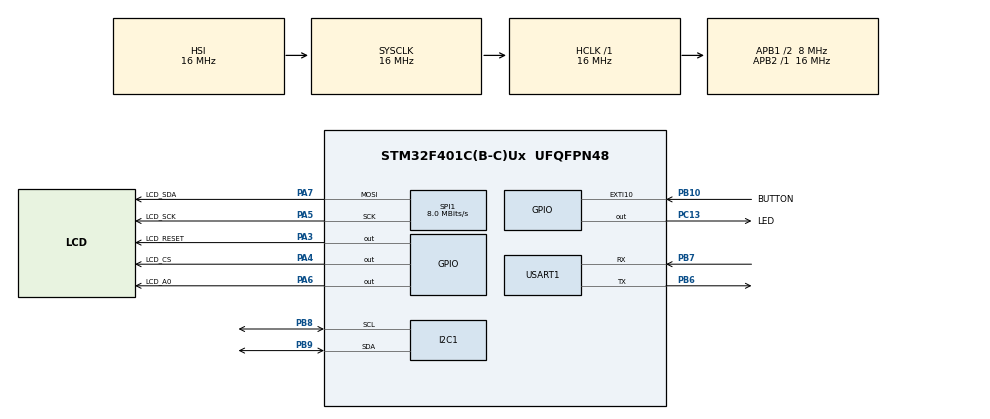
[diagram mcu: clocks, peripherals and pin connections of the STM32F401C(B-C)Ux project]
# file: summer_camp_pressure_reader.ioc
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FREERTOS.BinarySemaphores01=semButtonPressed,Static,semButtonPressedControlBlock
FREERTOS.Mutexes01=muxUART,Dynamic,NULL
FREERTOS.Queues01=queueHandler,32,uint32_t,0,Dynamic,NULL,NULL
FREERTOS.Tasks01=defaultTask,8,128,StartDefaultTask,Default,NULL,Dynamic,NULL,NULL;taskPressureOut,24,128,StartTaskPressureOutput,Default,NULL,Dynamic,NULL,NULL;taskPressureRea,8,128,StartTaskPressureRead,Default,NULL,Dynamic,NULL,NULL
FREERTOS.configTICK_RATE_HZ=500
FREERTOS.configUSE_NEWLIB_REENTRANT=1
Mcu.Family=STM32F4
Mcu.Name=STM32F401C(B-C)Ux
Mcu.Package=UFQFPN48
NVIC.PriorityGroup=NVIC_PRIORITYGROUP_4
NVIC.SPI1_IRQn=true\:5\:0\:false\:false\:true\:true\:true\:true\:true
PA3.GPIO_Label=LCD_RESET
PA3.PinState=GPIO_PIN_SET
PA3.Signal=GPIO_Output
PA4.GPIO_Label=LCD_CS
PA4.PinState=GPIO_PIN_SET
PA4.Signal=GPIO_Output
PA5.GPIO_Label=LCD_SCK
PA5.Mode=TX_Only_Simplex_Unidirect_Master
PA5.Signal=SPI1_SCK
PA6.GPIO_Label=LCD_A0
PA6.PinState=GPIO_PIN_SET
PA6.Signal=GPIO_Output
PA7.GPIO_Label=LCD_SDA
PA7.Mode=TX_Only_Simplex_Unidirect_Master
PA7.Signal=SPI1_MOSI
PB10.GPIO_Label=BUTTON
PB10.GPIO_ModeDefaultEXTI=GPIO_MODE_IT_RISING
PB10.Signal=GPXTI10
PB6.Mode=Asynchronous
PB6.Signal=USART1_TX
PB7.Mode=Asynchronous
PB7.Signal=USART1_RX
PB8.GPIO_Pu=GPIO_PULLUP
PB8.Mode=I2C
PB8.Signal=I2C1_SCL
PB9.GPIO_Pu=GPIO_PULLUP
PB9.Mode=I2C
PB9.Signal=I2C1_SDA
PC13-ANTI_TAMP.GPIO_Label=LED
PC13-ANTI_TAMP.Signal=GPIO_Output
ProjectManager.HeapSize=0x200
ProjectManager.StackSize=0x400
ProjectManager.TargetToolchain=STM32CubeIDE
RCC.48MHZClocksFreq_Value=84000000
RCC.AHBFreq_Value=16000000
RCC.APB1CLKDivider=RCC_HCLK_DIV2
RCC.APB1Freq_Value=8000000
RCC.APB1TimFreq_Value=16000000
RCC.APB2Freq_Value=16000000
RCC.APB2TimFreq_Value=16000000
RCC.CortexFreq_Value=16000000
RCC.HCLKFreq_Value=16000000
RCC.HSE_VALUE=25000000
RCC.HSI_VALUE=16000000
RCC.LSE_VALUE=32768
RCC.PLLM=8
RCC.PLLN=168
RCC.SYSCLKFreq_VALUE=16000000
RCC.VCOOutputFreq_Value=336000000
SPI1.CalculateBaudRate=8.0 MBits/s
SPI1.DataSize=SPI_DATASIZE_8BIT
SPI1.Direction=SPI_DIRECTION_2LINES
SPI1.Mode=SPI_MODE_MASTER
SPI1.VirtualType=VM_MASTER
USART1.VirtualMode=VM_ASYNC
VP_FREERTOS_VS_CMSIS_V2.Mode=CMSIS_V2
board=custom

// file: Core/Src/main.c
/* USER CODE BEGIN Header */
/**
 ******************************************************************************
 * @file           : main.c
 * @brief          : Main program body
 ******************************************************************************
 * @attention
 *
 * Copyright (c) 2022 STMicroelectronics.
 * All rights reserved.
 *
 * This software is licensed under terms that can be found in the LICENSE file
 * in the root directory of this software component.
 * If no LICENSE file comes with this software, it is provided AS-IS.
 *
 ******************************************************************************
 */
/* USER CODE END Header */
#include "main.h"
#include "cmsis_os.h"

/* USER CODE BEGIN Includes */
#include <stdio.h>
#include <string.h>
#include "baro.h"

/* USER CODE END Includes */

typedef StaticSemaphore_t osStaticSemaphoreDef_t;

/* USER CODE BEGIN PD */
#define countof(_a) (sizeof(_a)/sizeof(_a[0]))

#define MAX(a, b) (a > b) ? a : b

/* USER CODE END PD */

I2C_HandleTypeDef hi2c1;

SPI_HandleTypeDef hspi1;

UART_HandleTypeDef huart1;

/* Definitions for defaultTask */
osThreadId_t defaultTaskHandle;
const osThreadAttr_t defaultTask_attributes = { .name = "defaultTask",
		.stack_size = 128 * 4, .priority = (osPriority_t) osPriorityLow, };
/* Definitions for taskPressureOut */
osThreadId_t taskPressureOutHandle;
const osThreadAttr_t taskPressureOut_attributes = { .name = "taskPressureOut",
		.stack_size = 128 * 4, .priority = (osPriority_t) osPriorityNormal, };
/* Definitions for taskPressureRea */
osThreadId_t taskPressureReaHandle;
const osThreadAttr_t taskPressureRea_attributes = { .name = "taskPressureRea",
		.stack_size = 128 * 4, .priority = (osPriority_t) osPriorityLow, };
/* Definitions for queueHandler */
osMessageQueueId_t queueHandlerHandle;
const osMessageQueueAttr_t queueHandler_attributes = { .name = "queueHandler" };
/* Definitions for muxUART */
osMutexId_t muxUARTHandle;
const osMutexAttr_t muxUART_attributes = { .name = "muxUART" };
/* Definitions for semButtonPressed */
osSemaphoreId_t semButtonPressedHandle;
osStaticSemaphoreDef_t semButtonPressedControlBlock;
const osSemaphoreAttr_t semButtonPressed_attributes = { .name =
		"semButtonPressed", .cb_mem = &semButtonPressedControlBlock, .cb_size =
		sizeof(semButtonPressedControlBlock), };

void SystemClock_Config(void);
static void MX_GPIO_Init(void);
static void MX_I2C1_Init(void);
static void MX_USART1_UART_Init(void);
static void MX_SPI1_Init(void);
void StartDefaultTask(void *argument);
void StartTaskPressureOutput(void *argument);
void StartTaskPressureRead(void *argument);

/* USER CODE BEGIN 0 */
char text[100];
/* USER CODE END 0 */

int main(void) {

	/* MCU Configuration--------------------------------------------------------*/

	/* Reset of all peripherals, Initializes the Flash interface and the Systick. */
	HAL_Init();

	/* Configure the system clock */
	SystemClock_Config();

	/* Initialize all configured peripherals */
	MX_GPIO_Init();
	MX_I2C1_Init();
	MX_USART1_UART_Init();
	MX_SPI1_Init();
	/* USER CODE BEGIN 2 */

	if (baro_init() != BARO_OK) {
		snprintf(text, strlen(text), "Error init baro\n");
		HAL_UART_Transmit(&huart1, (uint8_t*) text,
				strnlen(text, countof(text)), 1000);
		while (1) {
		}
	}

	/* USER CODE END 2 */

	/* Init scheduler */
	osKernelInitialize();
	/* Create the mutex(es) */
	/* creation of muxUART */
	muxUARTHandle = osMutexNew(&muxUART_attributes);

	/* Create the semaphores(s) */
	/* creation of semButtonPressed */
	semButtonPressedHandle = osSemaphoreNew(1, 1, &semButtonPressed_attributes);

	/* Create the queue(s) */
	/* creation of queueHandler */
	queueHandlerHandle = osMessageQueueNew(32, sizeof(uint32_t),
			&queueHandler_attributes);

	/* USER CODE BEGIN RTOS_QUEUES */
	if (queueHandlerHandle == NULL) {
		char *str = "Unable to create Integer Queue\n\n";
		HAL_UART_Transmit(&huart1, (uint8_t*) str, strlen(str), HAL_MAX_DELAY);
	} else {
		char *str = "Integer Queue Created Successfully\n\n";
		HAL_UART_Transmit(&huart1, (uint8_t*) str, strlen(str), HAL_MAX_DELAY);
	}

	/* add queues, ... */
	/* USER CODE END RTOS_QUEUES */

	/* Create the thread(s) */
	/* creation of defaultTask */
	defaultTaskHandle = osThreadNew(StartDefaultTask, NULL,
			&defaultTask_attributes);

	/* creation of taskPressureOut */
	taskPressureOutHandle = osThreadNew(StartTaskPressureOutput, NULL,
			&taskPressureOut_attributes);

	/* creation of taskPressureRea */
	taskPressureReaHandle = osThreadNew(StartTaskPressureRead, NULL,
			&taskPressureRea_attributes);

	/* Start scheduler */
	osKernelStart();

	/* We should never get here as control is now taken by the scheduler */
	/* Infinite loop */
	while (1) {

	}
}

void SystemClock_Config(void) {
	RCC_OscInitTypeDef RCC_OscInitStruct = { 0 };
	RCC_ClkInitTypeDef RCC_ClkInitStruct = { 0 };

	/** Configure the main internal regulator output voltage
	 */
	__HAL_RCC_PWR_CLK_ENABLE();
	__HAL_PWR_VOLTAGESCALING_CONFIG(PWR_REGULATOR_VOLTAGE_SCALE2);

	/** Initializes the RCC Oscillators according to the specified parameters
	 * in the RCC_OscInitTypeDef structure.
	 */
	RCC_OscInitStruct.OscillatorType = RCC_OSCILLATORTYPE_HSI;
	RCC_OscInitStruct.HSIState = RCC_HSI_ON;
	RCC_OscInitStruct.HSICalibrationValue = RCC_HSICALIBRATION_DEFAULT;
	RCC_OscInitStruct.PLL.PLLState = RCC_PLL_NONE;
	if (HAL_RCC_OscConfig(&RCC_OscInitStruct) != HAL_OK) {
		Error_Handler();
	}

	/** Initializes the CPU, AHB and APB buses clocks
	 */
	RCC_ClkInitStruct.ClockType = RCC_CLOCKTYPE_HCLK | RCC_CLOCKTYPE_SYSCLK
			| RCC_CLOCKTYPE_PCLK1 | RCC_CLOCKTYPE_PCLK2;
	RCC_ClkInitStruct.SYSCLKSource = RCC_SYSCLKSOURCE_HSI;
	RCC_ClkInitStruct.AHBCLKDivider = RCC_SYSCLK_DIV1;
	RCC_ClkInitStruct.APB1CLKDivider = RCC_HCLK_DIV2;
	RCC_ClkInitStruct.APB2CLKDivider = RCC_HCLK_DIV1;

	if (HAL_RCC_ClockConfig(&RCC_ClkInitStruct, FLASH_LATENCY_0) != HAL_OK) {
		Error_Handler();
	}
}

static void MX_I2C1_Init(void) {

	hi2c1.Instance = I2C1;
	hi2c1.Init.ClockSpeed = 100000;
	hi2c1.Init.DutyCycle = I2C_DUTYCYCLE_2;
	hi2c1.Init.OwnAddress1 = 0;
	hi2c1.Init.AddressingMode = I2C_ADDRESSINGMODE_7BIT;
	hi2c1.Init.DualAddressMode = I2C_DUALADDRESS_DISABLE;
	hi2c1.Init.OwnAddress2 = 0;
	hi2c1.Init.GeneralCallMode = I2C_GENERALCALL_DISABLE;
	hi2c1.Init.NoStretchMode = I2C_NOSTRETCH_DISABLE;
	if (HAL_I2C_Init(&hi2c1) != HAL_OK) {
		Error_Handler();
	}

}

static void MX_SPI1_Init(void) {

	/* SPI1 parameter configuration*/
	hspi1.Instance = SPI1;
	hspi1.Init.Mode = SPI_MODE_MASTER;
	hspi1.Init.Direction = SPI_DIRECTION_2LINES;
	hspi1.Init.DataSize = SPI_DATASIZE_8BIT;
	hspi1.Init.CLKPolarity = SPI_POLARITY_LOW;
	hspi1.Init.CLKPhase = SPI_PHASE_1EDGE;
	hspi1.Init.NSS = SPI_NSS_SOFT;
	hspi1.Init.BaudRatePrescaler = SPI_BAUDRATEPRESCALER_2;
	hspi1.Init.FirstBit = SPI_FIRSTBIT_MSB;
	hspi1.Init.TIMode = SPI_TIMODE_DISABLE;
	hspi1.Init.CRCCalculation = SPI_CRCCALCULATION_DISABLE;
	hspi1.Init.CRCPolynomial = 10;
	if (HAL_SPI_Init(&hspi1) != HAL_OK) {
		Error_Handler();
	}

}

static void MX_USART1_UART_Init(void) {

	huart1.Instance = USART1;
	huart1.Init.BaudRate = 115200;
	huart1.Init.WordLength = UART_WORDLENGTH_8B;
	huart1.Init.StopBits = UART_STOPBITS_1;
	huart1.Init.Parity = UART_PARITY_NONE;
	huart1.Init.Mode = UART_MODE_TX_RX;
	huart1.Init.HwFlowCtl = UART_HWCONTROL_NONE;
	huart1.Init.OverSampling = UART_OVERSAMPLING_16;
	if (HAL_UART_Init(&huart1) != HAL_OK) {
		Error_Handler();
	}

}

static void MX_GPIO_Init(void) {
	GPIO_InitTypeDef GPIO_InitStruct = { 0 };

	/* GPIO Ports Clock Enable */
	__HAL_RCC_GPIOC_CLK_ENABLE();
	__HAL_RCC_GPIOA_CLK_ENABLE();
	__HAL_RCC_GPIOB_CLK_ENABLE();

	/*Configure GPIO pin Output Level */
	HAL_GPIO_WritePin(LED_GPIO_Port, LED_Pin, GPIO_PIN_RESET);

	/*Configure GPIO pin Output Level */
	HAL_GPIO_WritePin(GPIOA, LCD_RESET_Pin | LCD_CS_Pin | LCD_A0_Pin,
			GPIO_PIN_SET);

	/*Configure GPIO pin : LED_Pin */
	GPIO_InitStruct.Pin = LED_Pin;
	GPIO_InitStruct.Mode = GPIO_MODE_OUTPUT_PP;
	GPIO_InitStruct.Pull = GPIO_NOPULL;
	GPIO_InitStruct.Speed = GPIO_SPEED_FREQ_LOW;
	HAL_GPIO_Init(LED_GPIO_Port, &GPIO_InitStruct);

	/*Configure GPIO pins : LCD_RESET_Pin LCD_CS_Pin LCD_A0_Pin */
	GPIO_InitStruct.Pin = LCD_RESET_Pin | LCD_CS_Pin | LCD_A0_Pin;
	GPIO_InitStruct.Mode = GPIO_MODE_OUTPUT_PP;
	GPIO_InitStruct.Pull = GPIO_NOPULL;
	GPIO_InitStruct.Speed = GPIO_SPEED_FREQ_LOW;
	HAL_GPIO_Init(GPIOA, &GPIO_InitStruct);

	/*Configure GPIO pin : BUTTON_Pin */
	GPIO_InitStruct.Pin = BUTTON_Pin;
	GPIO_InitStruct.Mode = GPIO_MODE_IT_RISING;
	GPIO_InitStruct.Pull = GPIO_NOPULL;
	HAL_GPIO_Init(BUTTON_GPIO_Port, &GPIO_InitStruct);

}

/* USER CODE BEGIN 4 */

void HAL_GPIO_EXTI_Callback(uint16_t GPIO_Pin) {
}

/* USER CODE END 4 */

void StartDefaultTask(void *argument) {
	for (;;) {
		osDelay(1);
	}
}

void StartTaskPressureOutput(void *argument) {
	/* USER CODE BEGIN StartTaskPressureOutput */
	/* Infinite loop */
	for (;;) {
		osStatus_t status;
		int32_t pressure;

		// Read the value of the pressure from the queue
		status = osMessageQueueGet(queueHandlerHandle, &pressure, NULL, 100);

		// Write a formatted data to the string text
		snprintf(text, countof(text), "Pressure: %ld.%02ld\n", pressure / 100,
				pressure % 100);

		// Check whether the operation has been completed without failure and output the result to the UART port
		if (status == osOK) {
			HAL_UART_Transmit(&huart1, (uint8_t*) text, strlen(text), 1000);
		} else {
			snprintf(text, strlen(text),
					"Failure while acquiring data from the other task");
			HAL_UART_Transmit(&huart1, (uint8_t*) text, strlen(text), 1000);
		}

		// Make a delay of 500 ms after each iteration
		osDelay(pdMS_TO_TICKS(500));
	}
	/* USER CODE END StartTaskPressureOutput */
}

void StartTaskPressureRead(void *argument) {
	/* USER CODE BEGIN StartTaskPressureRead */
	/* Infinite loop */
	for (;;) {

		// Initialize the value of the variable with the atmospheric pressure from the BMP280 sensor
		int32_t pressure = baro_read_press();
		// Put the value with the pressure data from the sensor to the queue
		osMessageQueuePut(queueHandlerHandle, &pressure, 0U, 100);
		// Make a delay of 500 ms after each iteration
		osDelay(pdMS_TO_TICKS(500));
	}
	/* USER CODE END StartTaskPressureRead */
}

void Error_Handler(void) {
	__disable_irq();
	while (1) {
	}
}
